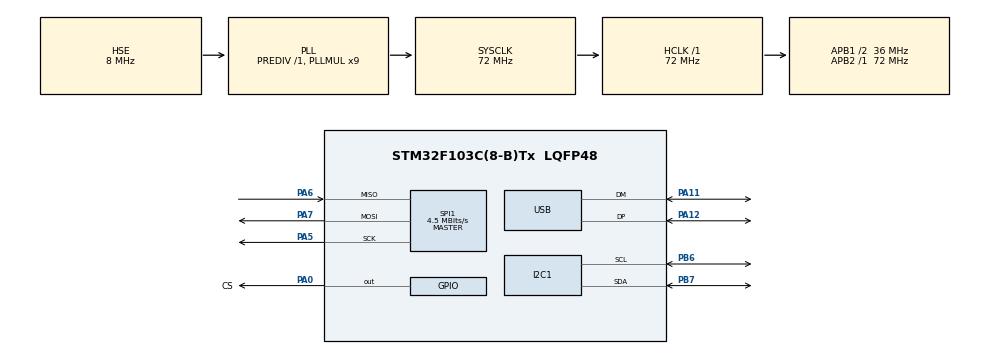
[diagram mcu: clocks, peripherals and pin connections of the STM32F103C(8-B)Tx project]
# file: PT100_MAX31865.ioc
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Mcu.Family=STM32F1
RCC.PLLSourceVirtual=RCC_PLLSOURCE_HSE
PA6.Mode=Full_Duplex_Master
USB_DEVICE.CLASS_NAME_FS=CDC
PA7.Mode=Full_Duplex_Master
PD1-OSC_OUT.Mode=HSE-External-Oscillator
SPI1.VirtualType=VM_MASTER
USB_DEVICE.VirtualModeFS=Cdc_FS
RCC.USBPrescaler=RCC_USBCLKSOURCE_PLL_DIV1_5
PA11.Mode=Device
SPI1.CLKPhase=SPI_PHASE_2EDGE
PD0-OSC_IN.Signal=RCC_OSC_IN
RCC.APB1CLKDivider=RCC_HCLK_DIV2
RCC.SYSCLKSource=RCC_SYSCLKSOURCE_PLLCLK
ProjectManager.StackSize=0x400
PA0-WKUP.GPIO_Label=CS
PA0-WKUP.Signal=GPIO_Output
PD1-OSC_OUT.Signal=RCC_OSC_OUT
PA13.Signal=SYS_JTMS-SWDIO
PA12.Signal=USB_DP
SPI1.CLKPolarity=SPI_POLARITY_LOW
ProjectManager.TargetToolchain=STM32CubeIDE
USB_DEVICE.PRODUCT_STRING_CDC_FS=Soldering iron PT100 logger
I2C1.I2C_Mode=I2C_Fast
SPI1.Direction=SPI_DIRECTION_2LINES
RCC.HCLKFreq_Value=72000000
VP_USB_DEVICE_VS_USB_DEVICE_CDC_FS.Mode=CDC_FS
RCC.APB2TimFreq_Value=72000000
PB6.Signal=I2C1_SCL
PB6.Mode=I2C
SPI1.CalculateBaudRate=4.5 MBits/s
RCC.USBFreq_Value=48000000
RCC.AHBFreq_Value=72000000
PD0-OSC_IN.Mode=HSE-External-Oscillator
PA5.Signal=SPI1_SCK
PB3.Mode=Trace_Asynchronous_SW
board=custom
RCC.PLLMUL=RCC_PLL_MUL9
RCC.APB2Freq_Value=72000000
SPI1.Mode=SPI_MODE_MASTER
PA14.Mode=Trace_Asynchronous_SW
NVIC.USB_LP_CAN1_RX0_IRQn=true\:0\:0\:false\:false\:true\:false\:true
PB7.Signal=I2C1_SDA
PA13.Mode=Trace_Asynchronous_SW
Mcu.Name=STM32F103C(8-B)Tx
PB3.Signal=SYS_JTDO-TRACESWO
RCC.SYSCLKFreq_VALUE=72000000
Mcu.Package=LQFP48
PA6.Signal=SPI1_MISO
PA12.Mode=Device
PB7.Mode=I2C
PA11.Signal=USB_DM
PA14.Signal=SYS_JTCK-SWCLK
ProjectManager.HeapSize=0x200
NVIC.PriorityGroup=NVIC_PRIORITYGROUP_4
RCC.APB1TimFreq_Value=72000000
RCC.APB1Freq_Value=36000000
SPI1.BaudRatePrescaler=SPI_BAUDRATEPRESCALER_16
USB_DEVICE.VirtualMode=Cdc
PA7.Signal=SPI1_MOSI
PA5.Mode=Full_Duplex_Master

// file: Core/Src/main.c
/* USER CODE BEGIN Header */
/**
 ******************************************************************************
 * @file           : main.c
 * @brief          : Main program body
 ******************************************************************************
 * @attention
 *
 * <h2><center>&copy; Copyright (c) 2021 STMicroelectronics.
 * All rights reserved.</center></h2>
 *
 * This software component is licensed by ST under BSD 3-Clause license,
 * the "License"; You may not use this file except in compliance with the
 * License. You may obtain a copy of the License at:
 *                        opensource.org/licenses/BSD-3-Clause
 *
 ******************************************************************************
 */
/* USER CODE END Header */
#include "main.h"
#include "usb_device.h"

/* USER CODE BEGIN Includes */
#include "MAX31865_lib.h"
#include "lcd1602_i2c_lib.h"
#include <stdio.h>
#include <stdbool.h>
#include "usbd_cdc_if.h"

extern uint8_t UserTxBufferFS[APP_TX_DATA_SIZE];
extern uint8_t UserRxBufferFS[APP_RX_DATA_SIZE];

extern bool MAX31865_Sensor_Error;
extern char lcd1602_tx_buffer[40];
float PT100_Temperature = 0.0f;

unsigned long Time;
/* USER CODE END Includes */

I2C_HandleTypeDef hi2c1;

SPI_HandleTypeDef hspi1;

void SystemClock_Config(void);
static void MX_GPIO_Init(void);
static void MX_SPI1_Init(void);
static void MX_I2C1_Init(void);
/* USER CODE BEGIN PFP */
void UART_MQTT_Send_data_float(uint8_t VARIABLE_ID, float data, uint8_t *tx_buffer);
/* USER CODE END PFP */

/* USER CODE BEGIN 0 */

/*=========================ОТЛАДКА КОДА ПО SWO============================*/

int _write(int file, uint8_t *ptr, int len) {

	for (int DataIdx = 0; DataIdx < len; DataIdx++) {
		ITM_SendChar(*ptr++);
	}
	return len;
}
/*=========================ОТЛАДКА КОДА ПО SWO============================*/

/*----------Отправка float в массив-----------------*/
/// Отправка float в tx_buffer(принимающему устройству)
/// \param VARIABLE_ID - номер переменной(должен совпадать на передающем и принимающем устройстве)
/// \param data - переменная, которую следует отправить
/// \param *tx_buffer - буфер, который используется для отправки
void UART_MQTT_Send_data_float(uint8_t VARIABLE_ID, float data, uint8_t *tx_buffer) {
	union {
		uint32_t res;
		float f;
	} data_conv;
	data_conv.f = data;
	tx_buffer[0] = 0xFF;
	tx_buffer[1] = VARIABLE_ID;
	tx_buffer[2] = 0x08;
	tx_buffer[3] = data_conv.res >> 24;
	tx_buffer[4] = data_conv.res >> 16;
	tx_buffer[5] = data_conv.res >> 8;
	tx_buffer[6] = data_conv.res;
	uint16_t CRC_tx_buffer = (~(tx_buffer[1] + tx_buffer[2] + tx_buffer[3] + tx_buffer[4] + tx_buffer[5] + tx_buffer[6])) + 1;
	tx_buffer[7] = CRC_tx_buffer >> 8;
	tx_buffer[8] = CRC_tx_buffer;

		CDC_Transmit_FS(tx_buffer, 9);

}
/*----------Отправка float в массив-----------------*/

/* USER CODE END 0 */

int main(void)
{

  /* MCU Configuration--------------------------------------------------------*/

  /* Reset of all peripherals, Initializes the Flash interface and the Systick. */
  HAL_Init();

  /* Configure the system clock */
  SystemClock_Config();

  /* Initialize all configured peripherals */
  MX_GPIO_Init();
  MX_SPI1_Init();
  MX_I2C1_Init();
  MX_USB_DEVICE_Init();
  /* USER CODE BEGIN 2 */

	MAX31865_Init(3);
	lcd1602_Init();
	lcd1602_Decode_UTF8(0, 0, "Датчик: PT100");

  /* USER CODE END 2 */

  /* Infinite loop */
	while (1) {

    /* USER CODE BEGIN 3 */

		if (HAL_GetTick() - Time >= 1000) {
			Time = HAL_GetTick();
			//PT100_Temperature = 25.78;
			PT100_Temperature = MAX31865_Get_Temperature();
			if (PT100_Temperature >= 0) {
				PT100_Temperature = PT100_Temperature + 0.05;
				sprintf(lcd1602_tx_buffer, "Темпер.=%d.%d°C  ", (uint16_t) (PT100_Temperature),
						((uint16_t) (PT100_Temperature * 100) - ((uint16_t) PT100_Temperature) * 100) / 10);
				//printf("Temper.=%d.%d C  \r\n", (uint16_t) (PT100_Temperature), ((uint16_t) (PT100_Temperature * 10) - ((uint16_t) PT100_Temperature) * 10));
			} else {
				//PT100_Temperature = MAX31865_Get_Temperature() - 0.05;
				PT100_Temperature = -PT100_Temperature + 0.05;
				sprintf(lcd1602_tx_buffer, "Темпер.=-%d.%d°C  ", (uint16_t) (PT100_Temperature),
						((uint16_t) (PT100_Temperature * 100) - ((uint16_t) PT100_Temperature) * 100) / 10);
				//printf("Temper.=-%d.%d C  \r\n", (uint16_t) (PT100_Temperature), ((uint16_t) (PT100_Temperature * 10) - ((uint16_t) PT100_Temperature) * 10));
			}

			lcd1602_Decode_UTF8(0, 1, lcd1602_tx_buffer);
			UART_MQTT_Send_data_float(0x1, PT100_Temperature, UserTxBufferFS);

		}
	}
  /* USER CODE END 3 */
}

void SystemClock_Config(void)
{
  RCC_OscInitTypeDef RCC_OscInitStruct = {0};
  RCC_ClkInitTypeDef RCC_ClkInitStruct = {0};
  RCC_PeriphCLKInitTypeDef PeriphClkInit = {0};

  /** Initializes the RCC Oscillators according to the specified parameters
  * in the RCC_OscInitTypeDef structure.
  */
  RCC_OscInitStruct.OscillatorType = RCC_OSCILLATORTYPE_HSE;
  RCC_OscInitStruct.HSEState = RCC_HSE_ON;
  RCC_OscInitStruct.HSEPredivValue = RCC_HSE_PREDIV_DIV1;
  RCC_OscInitStruct.HSIState = RCC_HSI_ON;
  RCC_OscInitStruct.PLL.PLLState = RCC_PLL_ON;
  RCC_OscInitStruct.PLL.PLLSource = RCC_PLLSOURCE_HSE;
  RCC_OscInitStruct.PLL.PLLMUL = RCC_PLL_MUL9;
  if (HAL_RCC_OscConfig(&RCC_OscInitStruct) != HAL_OK)
  {
    Error_Handler();
  }
  /** Initializes the CPU, AHB and APB buses clocks
  */
  RCC_ClkInitStruct.ClockType = RCC_CLOCKTYPE_HCLK|RCC_CLOCKTYPE_SYSCLK
                              |RCC_CLOCKTYPE_PCLK1|RCC_CLOCKTYPE_PCLK2;
  RCC_ClkInitStruct.SYSCLKSource = RCC_SYSCLKSOURCE_PLLCLK;
  RCC_ClkInitStruct.AHBCLKDivider = RCC_SYSCLK_DIV1;
  RCC_ClkInitStruct.APB1CLKDivider = RCC_HCLK_DIV2;
  RCC_ClkInitStruct.APB2CLKDivider = RCC_HCLK_DIV1;

  if (HAL_RCC_ClockConfig(&RCC_ClkInitStruct, FLASH_LATENCY_2) != HAL_OK)
  {
    Error_Handler();
  }
  PeriphClkInit.PeriphClockSelection = RCC_PERIPHCLK_USB;
  PeriphClkInit.UsbClockSelection = RCC_USBCLKSOURCE_PLL_DIV1_5;
  if (HAL_RCCEx_PeriphCLKConfig(&PeriphClkInit) != HAL_OK)
  {
    Error_Handler();
  }
}

static void MX_I2C1_Init(void)
{

  hi2c1.Instance = I2C1;
  hi2c1.Init.ClockSpeed = 400000;
  hi2c1.Init.DutyCycle = I2C_DUTYCYCLE_2;
  hi2c1.Init.OwnAddress1 = 0;
  hi2c1.Init.AddressingMode = I2C_ADDRESSINGMODE_7BIT;
  hi2c1.Init.DualAddressMode = I2C_DUALADDRESS_DISABLE;
  hi2c1.Init.OwnAddress2 = 0;
  hi2c1.Init.GeneralCallMode = I2C_GENERALCALL_DISABLE;
  hi2c1.Init.NoStretchMode = I2C_NOSTRETCH_DISABLE;
  if (HAL_I2C_Init(&hi2c1) != HAL_OK)
  {
    Error_Handler();
  }

}

static void MX_SPI1_Init(void)
{

  /* SPI1 parameter configuration*/
  hspi1.Instance = SPI1;
  hspi1.Init.Mode = SPI_MODE_MASTER;
  hspi1.Init.Direction = SPI_DIRECTION_2LINES;
  hspi1.Init.DataSize = SPI_DATASIZE_8BIT;
  hspi1.Init.CLKPolarity = SPI_POLARITY_LOW;
  hspi1.Init.CLKPhase = SPI_PHASE_2EDGE;
  hspi1.Init.NSS = SPI_NSS_SOFT;
  hspi1.Init.BaudRatePrescaler = SPI_BAUDRATEPRESCALER_16;
  hspi1.Init.FirstBit = SPI_FIRSTBIT_MSB;
  hspi1.Init.TIMode = SPI_TIMODE_DISABLE;
  hspi1.Init.CRCCalculation = SPI_CRCCALCULATION_DISABLE;
  hspi1.Init.CRCPolynomial = 10;
  if (HAL_SPI_Init(&hspi1) != HAL_OK)
  {
    Error_Handler();
  }

}

static void MX_GPIO_Init(void)
{
  GPIO_InitTypeDef GPIO_InitStruct = {0};

  /* GPIO Ports Clock Enable */
  __HAL_RCC_GPIOD_CLK_ENABLE();
  __HAL_RCC_GPIOA_CLK_ENABLE();
  __HAL_RCC_GPIOB_CLK_ENABLE();

  /*Configure GPIO pin Output Level */
  HAL_GPIO_WritePin(CS_GPIO_Port, CS_Pin, GPIO_PIN_RESET);

  /*Configure GPIO pin : CS_Pin */
  GPIO_InitStruct.Pin = CS_Pin;
  GPIO_InitStruct.Mode = GPIO_MODE_OUTPUT_PP;
  GPIO_InitStruct.Pull = GPIO_NOPULL;
  GPIO_InitStruct.Speed = GPIO_SPEED_FREQ_LOW;
  HAL_GPIO_Init(CS_GPIO_Port, &GPIO_InitStruct);

}

void Error_Handler(void)
{
	__disable_irq();
	while (1) {
	}
}

/************************ (C) COPYRIGHT STMicroelectronics *****END OF FILE****/
